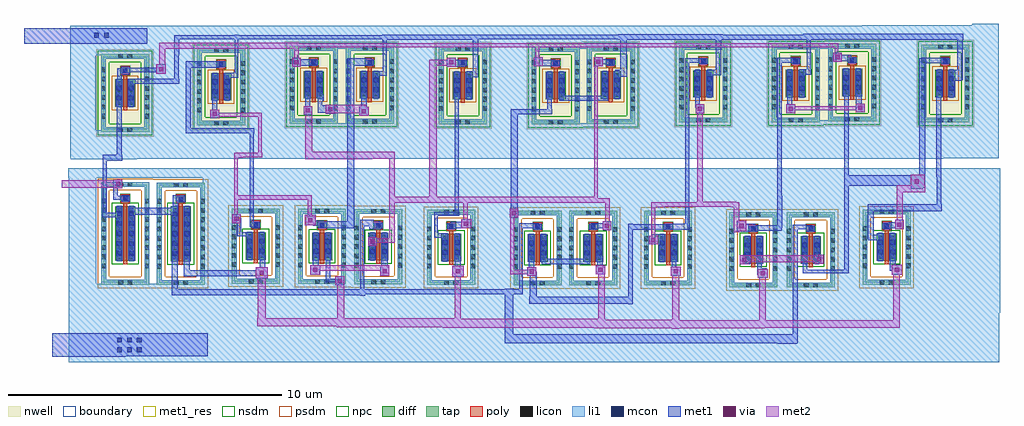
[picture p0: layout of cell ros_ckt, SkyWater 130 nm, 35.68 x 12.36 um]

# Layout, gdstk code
import gdstk
lib = gdstk.Library(unit=1e-6, precision=1e-09)
def R(c, l, rs):  # rectangles x0, y0, x1, y1
    for r in rs: c.add(gdstk.rectangle(r[:2], r[2:], *l))
def A(c, l, x, y, w, h, nx, ny, dx, dy):  # array of equal rectangles
    R(c, l, [(x+i*dx, y+j*dy, x+i*dx+w, y+j*dy+h) for i in range(nx) for j in range(ny)])
nwell = (64, 20)
diff = (65, 20)
tap = (65, 44)
poly = (66, 20)
licon = (66, 44)
li1 = (67, 20)
mcon = (67, 44)
met1_res = (68, 13)
met1 = (68, 20)
via = (68, 44)
met2 = (69, 20)
nsdm = (93, 44)
psdm = (94, 20)
npc = (95, 20)
boundary = (235, 4)

sky130_fd_pr__nfet_01v8_ = lib.new_cell('sky130_fd_pr__nfet_01v8_KW5RPL')
R(sky130_fd_pr__nfet_01v8_, diff, [(-0.365,-1,0.365,1)])
R(sky130_fd_pr__nfet_01v8_, tap, [(-0.875,-1.87,0.875,-1.7), (-0.875,-1.7,-0.705,1.7), (0.705,-1.7,0.875,1.7), (-0.875,1.7,0.875,1.87)])
R(sky130_fd_pr__nfet_01v8_, poly, [(-0.075,-1.13,0.075,1.11), (-0.165,1.11,0.165,1.44)])
A(sky130_fd_pr__nfet_01v8_, licon, -0.875, -1.275, 0.17, 0.17, 1, 8, 0, 0.34)
A(sky130_fd_pr__nfet_01v8_, licon, 0.705, -1.275, 0.17, 0.17, 1, 8, 0, 0.34)
A(sky130_fd_pr__nfet_01v8_, licon, -0.305, -0.935, 0.17, 0.17, 1, 6, 0, 0.34)
A(sky130_fd_pr__nfet_01v8_, licon, 0.135, -0.935, 0.17, 0.17, 1, 6, 0, 0.34)
R(sky130_fd_pr__nfet_01v8_, licon, [(-0.255,-1.87,-0.085,-1.7), (0.085,-1.87,0.255,-1.7), (-0.085,1.19,0.085,1.36), (-0.255,1.7,-0.085,1.87), (0.085,1.7,0.255,1.87)])
R(sky130_fd_pr__nfet_01v8_, li1, [(-0.875,-1.87,0.875,-1.7), (-0.875,-1.7,-0.705,1.7), (0.705,-1.7,0.875,1.7), (-0.305,-1.02,-0.135,1.02), (0.135,-1.02,0.305,1.02), (-0.165,1.19,0.165,1.36), (-0.875,1.7,0.875,1.87)])
A(sky130_fd_pr__nfet_01v8_, mcon, -0.305, -0.805, 0.17, 0.17, 1, 5, 0, 0.36)
A(sky130_fd_pr__nfet_01v8_, mcon, 0.135, -0.805, 0.17, 0.17, 1, 5, 0, 0.36)
R(sky130_fd_pr__nfet_01v8_, mcon, [(-0.085,1.19,0.085,1.36)])
R(sky130_fd_pr__nfet_01v8_, met1, [(-0.335,-1,-0.105,1), (0.105,-1,0.335,1), (-0.145,1.16,0.145,1.39)])
R(sky130_fd_pr__nfet_01v8_, nsdm, [(-0.49,-1.125,0.49,1.125)])
R(sky130_fd_pr__nfet_01v8_, psdm, [(-1,-1.995,1,-1.575), (-1,-1.575,-0.58,1.575), (0.58,-1.575,1,1.575), (-1,1.575,1,1.995)])
R(sky130_fd_pr__nfet_01v8_, npc, [(-0.185,1.09,0.185,1.46)])
R(sky130_fd_pr__nfet_01v8_, boundary, [(-0.79,-1.785,0.79,1.785)])
sky130_fd_pr__nfet_01v8_.add(gdstk.Label('B', (0,-1.785), layer=67, texttype=5))
sky130_fd_pr__nfet_01v8_.add(gdstk.Label('D', (-0.22,0), layer=67, texttype=5))
sky130_fd_pr__nfet_01v8_.add(gdstk.Label('S', (0.22,0), layer=67, texttype=5))
sky130_fd_pr__nfet_01v8_.add(gdstk.Label('G', (0,1.275), layer=67, texttype=5))

c_sky130_fd_pr__nfet_01v8_ = lib.new_cell('sky130_fd_pr__nfet_01v8_SFU2NW')
R(c_sky130_fd_pr__nfet_01v8_, diff, [(-0.365,-0.5,0.365,0.5)])
R(c_sky130_fd_pr__nfet_01v8_, tap, [(-0.875,-1.37,0.875,-1.2), (-0.875,-1.2,-0.705,1.2), (0.705,-1.2,0.875,1.2), (-0.875,1.2,0.875,1.37)])
R(c_sky130_fd_pr__nfet_01v8_, poly, [(-0.075,-0.63,0.075,0.61), (-0.165,0.61,0.165,0.94)])
A(c_sky130_fd_pr__nfet_01v8_, licon, -0.875, -0.765, 0.17, 0.17, 1, 5, 0, 0.34)
A(c_sky130_fd_pr__nfet_01v8_, licon, 0.705, -0.765, 0.17, 0.17, 1, 5, 0, 0.34)
A(c_sky130_fd_pr__nfet_01v8_, licon, -0.305, -0.425, 0.17, 0.17, 1, 3, 0, 0.34)
A(c_sky130_fd_pr__nfet_01v8_, licon, 0.135, -0.425, 0.17, 0.17, 1, 3, 0, 0.34)
R(c_sky130_fd_pr__nfet_01v8_, licon, [(-0.255,-1.37,-0.085,-1.2), (0.085,-1.37,0.255,-1.2), (-0.085,0.69,0.085,0.86), (-0.255,1.2,-0.085,1.37), (0.085,1.2,0.255,1.37)])
R(c_sky130_fd_pr__nfet_01v8_, li1, [(-0.875,-1.37,0.875,-1.2), (-0.875,-1.2,-0.705,1.2), (0.705,-1.2,0.875,1.2), (-0.305,-0.52,-0.135,0.52), (0.135,-0.52,0.305,0.52), (-0.165,0.69,0.165,0.86), (-0.875,1.2,0.875,1.37)])
R(c_sky130_fd_pr__nfet_01v8_, mcon, [(-0.305,-0.265,-0.135,-0.095), (0.135,-0.265,0.305,-0.095), (-0.305,0.095,-0.135,0.265), (0.135,0.095,0.305,0.265), (-0.085,0.69,0.085,0.86)])
R(c_sky130_fd_pr__nfet_01v8_, met1, [(-0.335,-0.5,-0.105,0.5), (0.105,-0.5,0.335,0.5), (-0.145,0.66,0.145,0.89)])
R(c_sky130_fd_pr__nfet_01v8_, nsdm, [(-0.49,-0.625,0.49,0.625)])
R(c_sky130_fd_pr__nfet_01v8_, psdm, [(-1,-1.495,1,-1.075), (-1,-1.075,-0.58,1.075), (0.58,-1.075,1,1.075), (-1,1.075,1,1.495)])
R(c_sky130_fd_pr__nfet_01v8_, npc, [(-0.185,0.59,0.185,0.96)])
R(c_sky130_fd_pr__nfet_01v8_, boundary, [(-0.79,-1.285,0.79,1.285)])
c_sky130_fd_pr__nfet_01v8_.add(gdstk.Label('B', (0,-1.285), layer=67, texttype=5))
c_sky130_fd_pr__nfet_01v8_.add(gdstk.Label('D', (-0.22,0), layer=67, texttype=5))
c_sky130_fd_pr__nfet_01v8_.add(gdstk.Label('S', (0.22,0), layer=67, texttype=5))
c_sky130_fd_pr__nfet_01v8_.add(gdstk.Label('G', (0,0.775), layer=67, texttype=5))

sky130_fd_pr__pfet_01v8_ = lib.new_cell('sky130_fd_pr__pfet_01v8_KBS6X7')
R(sky130_fd_pr__pfet_01v8_, nwell, [(-1.055,-1.595,1.055,1.595)])
R(sky130_fd_pr__pfet_01v8_, diff, [(-0.365,-0.5,0.365,0.5)])
R(sky130_fd_pr__pfet_01v8_, tap, [(-0.875,-1.415,0.875,-1.245), (-0.875,-1.245,-0.705,1.245), (0.705,-1.245,0.875,1.245), (-0.875,1.245,0.875,1.415)])
R(sky130_fd_pr__pfet_01v8_, poly, [(-0.075,-0.63,0.075,0.655), (-0.165,0.655,0.165,0.985)])
A(sky130_fd_pr__pfet_01v8_, licon, -0.875, -0.935, 0.17, 0.17, 1, 6, 0, 0.34)
A(sky130_fd_pr__pfet_01v8_, licon, 0.705, -0.935, 0.17, 0.17, 1, 6, 0, 0.34)
A(sky130_fd_pr__pfet_01v8_, licon, -0.305, -0.425, 0.17, 0.17, 1, 3, 0, 0.34)
A(sky130_fd_pr__pfet_01v8_, licon, 0.135, -0.425, 0.17, 0.17, 1, 3, 0, 0.34)
R(sky130_fd_pr__pfet_01v8_, licon, [(-0.255,-1.415,-0.085,-1.245), (0.085,-1.415,0.255,-1.245), (-0.085,0.735,0.085,0.905), (-0.255,1.245,-0.085,1.415), (0.085,1.245,0.255,1.415)])
R(sky130_fd_pr__pfet_01v8_, li1, [(-0.875,-1.415,0.875,-1.245), (-0.875,-1.245,-0.705,1.245), (0.705,-1.245,0.875,1.245), (-0.305,-0.52,-0.135,0.52), (0.135,-0.52,0.305,0.52), (-0.165,0.735,0.165,0.905), (-0.875,1.245,0.875,1.415)])
R(sky130_fd_pr__pfet_01v8_, mcon, [(-0.305,-0.265,-0.135,-0.095), (0.135,-0.265,0.305,-0.095), (-0.305,0.095,-0.135,0.265), (0.135,0.095,0.305,0.265), (-0.085,0.735,0.085,0.905)])
R(sky130_fd_pr__pfet_01v8_, met1, [(-0.335,-0.5,-0.105,0.5), (0.105,-0.5,0.335,0.5), (-0.145,0.705,0.145,0.935)])
R(sky130_fd_pr__pfet_01v8_, nsdm, [(-1,-1.54,1,-1.12), (-1,-1.12,-0.58,1.12), (0.58,-1.12,1,1.12), (-1,1.12,1,1.54)])
R(sky130_fd_pr__pfet_01v8_, psdm, [(-0.49,-0.625,0.49,0.625)])
R(sky130_fd_pr__pfet_01v8_, npc, [(-0.185,0.635,0.185,1.005)])
R(sky130_fd_pr__pfet_01v8_, boundary, [(-0.79,-1.33,0.79,1.33)])
sky130_fd_pr__pfet_01v8_.add(gdstk.Label('B', (0,-1.33), layer=67, texttype=5))
sky130_fd_pr__pfet_01v8_.add(gdstk.Label('D', (-0.22,0), layer=67, texttype=5))
sky130_fd_pr__pfet_01v8_.add(gdstk.Label('S', (0.22,0), layer=67, texttype=5))
sky130_fd_pr__pfet_01v8_.add(gdstk.Label('G', (0,0.82), layer=67, texttype=5))

ros_ckt = lib.new_cell('ros_ckt')
R(ros_ckt, li1, [(-3.4,-4.77,30.62,-2.97), (-3.4,-2.97,30.65,-1.9), (-3.4,-1.9,-2.38,1.97), (1.51,-1.9,2.66,0.76), (4.25,-1.9,5.03,0.76), (6.67,-1.9,7.1,0.76), (8.77,-1.9,9.8,0.72), (11.42,-1.9,12.93,0.72), (14.57,-1.9,14.93,0.72), (16.57,-1.9,17.71,0.72), (19.34,-1.9,20.81,0.66), (22.47,-1.9,22.95,0.66), (24.53,-1.9,25.68,0.66), (27.3,-1.9,30.65,0.73), (19.34,0.66,25.68,0.73), (8.77,0.72,17.89,0.73), (8.77,0.73,30.65,0.76), (1.51,0.76,30.65,1.97), (-3.41,1.97,30.65,2.32), (-3.33,2.64,-0.91,2.66), (-3.33,2.66,28.57,2.68), (-3.34,2.68,30.6,3.7), (-3.34,3.7,-2.4,6.44), (-0.5,3.7,30.6,3.96), (-0.5,3.96,1.33,6.37), (2.96,3.96,4.79,6.68), (8.42,3.96,13.59,3.97), (17.22,3.96,30.6,4.07), (8.42,3.97,10.21,6.68), (11.82,3.97,13.59,6.68), (17.22,4.07,18.97,6.68), (20.62,4.07,22.34,6.68), (26.02,4.07,27.83,6.68), (29.47,4.07,30.6,6.66), (-0.5,6.37,1.34,6.44), (-3.34,6.44,1.34,6.68), (27.96,6.66,30.6,6.68), (-3.34,6.68,30.6,7.53), (25.62,7.53,30.6,7.55), (29.63,7.55,30.6,7.59)])
A(ros_ckt, mcon, -1.62, -4.405, 0.17, 0.17, 3, 2, 0.36, 0.36)
R(ros_ckt, mcon, [(-2.465,7.09,-2.295,7.26), (-2.105,7.09,-1.935,7.26)])
R(ros_ckt, met1_res, [(13.6,6.04,13.8,6.28), (13.6,6.28,13.93,6.38)])
R(ros_ckt, met1, [(-3.99,-4.57,-1.31,-4.56), (-3.99,-4.56,1.69,-3.72), (22.53,-4.1,23.22,-4.09), (12.54,-4.09,23.22,-4.08), (12.54,-4.08,23.25,-3.75), (12.54,-3.75,12.86,-2.3), (23.08,-3.75,23.25,0.08), (-3.99,-3.72,-1.31,-3.71), (17.06,-2.66,17.23,-2.64), (13.44,-2.64,17.23,-2.38), (13.45,-2.38,13.71,-1.62), (17.06,-2.38,17.23,0.07), (7.27,-2.34,7.45,-2.33), (0.37,-2.33,7.45,-2.3), (0.37,-2.3,13.21,-2.11), (0.37,-2.11,6.21,-2.1), (6.83,-2.11,13.21,-2.1), (0.37,-2.1,0.59,-0.8), (7.26,-2.1,7.4,0.2), (12.54,-2.1,12.86,-2.09), (13.07,-2.1,13.21,0.12), (6.35,-1.97,6.68,-1.86), (6,-1.86,6.68,-1.72), (6,-1.72,6.17,-0.96), (6.35,-1.72,6.68,-1.63), (3.45,-1.71,3.88,-1.64), (21.8,-1.69,22.16,-1.58), (10.63,-1.65,11.04,-1.25), (0.81,-1.64,3.88,-1.42), (8,-1.62,8.32,-1.29), (13.36,-1.62,13.71,-1.47), (18.62,-1.62,18.98,-1.28), (5.43,-1.58,5.8,-1.23), (21.77,-1.58,22.16,-1.37), (26.7,-1.57,27.07,-1.43), (15.87,-1.56,16.22,-1.24), (23.43,-1.53,25.12,-1.39), (13.36,-1.47,13.69,-1.3), (26.62,-1.43,27.07,-1.21), (0.81,-1.42,1.03,-0.81), (3.45,-1.42,3.88,-1.3), (23.43,-1.39,23.6,-1.14), (24.95,-1.39,25.12,1.68), (21.77,-1.37,22.12,-1.35), (21.77,-1.35,21.94,-1.12), (3.58,-1.3,3.79,-0.88), (13.43,-1.3,13.62,-1.03), (8.03,-1.29,8.26,-0.98), (18.65,-1.28,18.82,-1.04), (10.71,-1.25,10.94,-0.91), (15.92,-1.24,16.13,-0.91), (5.52,-1.23,5.74,-0.83), (26.62,-1.21,26.83,-0.87), (21.14,-1.2,21.46,-0.87), (13.89,-1.19,15.67,-0.99), (23.88,-1.18,24.21,-0.85), (7.55,-0.52,7.87,-0.2), (17.82,-0.47,18.33,-0.21), (25.83,-0.32,26.37,-0.28), (25.82,-0.28,26.37,-0.12), (9.96,-0.22,10.47,-0.07), (17.82,-0.21,18.31,-0.15), (2.77,-0.17,3.34,-0.03), (17.9,-0.15,18.31,-0.1), (25.82,-0.12,26.03,0.74), (9.96,-0.07,10.1,0.58), (2.77,-0.03,2.91,0.31), (21.18,0,21.71,0.01), (21.02,0.01,21.71,0.03), (21.02,0.03,22.68,0.14), (16.12,0.05,16.44,0.12), (17.06,0.07,19.3,0.26), (23.08,0.08,23.78,0.24), (7.59,0.09,8.01,0.2), (26.82,0.09,27.14,0.12), (13.07,0.12,13.78,0.3), (15.7,0.12,16.44,0.31), (26.59,0.12,27.14,0.34), (5.87,0.13,7.05,0.21), (10.57,0.13,11.32,0.36), (21.02,0.14,22.69,0.24), (3.22,0.17,3.37,3.6), (7.26,0.2,8.01,0.38), (5.54,0.21,7.05,0.23), (5.23,0.23,7.05,0.38), (21.02,0.24,21.71,0.29), (22.5,0.24,22.69,1.31), (23.08,0.24,23.54,0.25), (17.06,0.26,17.23,0.28), (18.61,0.26,19.3,0.28), (19.14,0.28,19.29,6.18), (21.02,0.29,21.38,0.4), (2.58,0.31,2.91,0.48), (16.12,0.31,16.44,0.37), (26.82,0.34,27.14,0.43), (10.95,0.36,11.32,0.45), (5.23,0.38,5.92,0.4), (6.79,0.38,7.05,6.07), (7.26,0.38,7.76,0.43), (5.23,0.4,5.63,0.61), (2.58,0.48,2.9,0.64), (12.76,0.51,13.02,0.52), (-2.17,0.52,-1.49,0.69), (12.72,0.52,13.04,0.84), (0.4,0.56,0.6,0.62), (9.96,0.58,10.88,0.73), (-1.2,0.62,0.6,0.87), (-2.15,0.69,-2,2.59), (10.71,0.73,10.87,5.2), (25.82,0.74,28.52,1), (12.76,0.84,13.02,4.29), (0.4,0.87,0.6,1.07), (28.34,1,28.5,2.01), (0.4,1.07,0.86,1.33), (-1.76,1.16,-1.37,1.31), (-1.76,1.31,-1.61,1.58), (22.51,1.31,22.68,3.13), (27.38,1.56,27.82,1.61), (-1.76,1.58,-1.43,1.9), (27.38,1.61,27.91,1.68), (24.95,1.68,27.91,2.06), (28.32,2.01,28.5,5.12), (24.95,2.06,25.12,5.01), (27.38,2.06,27.91,2.07), (27.7,2.07,27.91,6.16), (-2.15,2.59,-1.44,2.8), (-2.15,2.8,-2,2.81), (-1.64,2.8,-1.45,3.21), (22.51,3.13,22.67,6.17), (-1.64,3.21,-1.46,4.66), (0.89,3.6,3.39,3.78), (0.89,3.78,1.06,5.99), (1.78,4.14,2.1,4.46), (7.23,4.24,7.57,4.57), (5.19,4.27,5.51,4.59), (14.1,4.28,14.27,4.29), (12.76,4.29,14.27,4.3), (6.01,4.3,6.33,4.35), (12.76,4.3,14.28,4.47), (19.52,4.32,19.84,4.53), (22.84,4.33,23.17,4.66), (5.71,4.35,6.33,4.44), (25.38,4.36,25.7,4.68), (5.7,4.44,6.33,4.61), (1.86,4.46,2.04,4.83), (14.1,4.47,14.27,4.92), (19.5,4.53,19.84,4.65), (7.3,4.57,7.5,4.94), (5.26,4.59,5.44,4.98), (5.7,4.61,5.87,4.78), (6.01,4.61,6.33,4.64), (19.5,4.65,19.67,4.98), (22.87,4.66,23.06,4.97), (25.38,4.68,25.59,4.99), (5.7,4.78,5.93,4.98), (14.53,4.78,16.32,4.97), (25.46,4.99,25.59,5.03), (-1.22,5.41,0.64,5.59), (-1.63,5.43,-1.46,5.74), (28.79,5.51,29.24,5.54), (28.79,5.54,29.29,5.86), (0.47,5.59,0.63,6.41), (2.31,5.63,2.81,5.81), (11.16,5.65,11.58,5.87), (16.58,5.66,17.03,5.91), (7.82,5.69,8.24,5.87), (20,5.72,20.46,5.91), (23.33,5.73,23.75,5.93), (-1.63,5.74,-1.18,5.82), (-0.19,5.77,0.15,5.82), (2.67,5.81,2.81,7.03), (-1.63,5.82,0.15,5.97), (28.82,5.86,29.29,5.92), (8.08,5.87,8.24,5.97), (11.37,5.87,11.57,7.02), (16.77,5.91,17.01,7.02), (20.25,5.91,20.46,7.02), (29.08,5.92,29.29,7.01), (23.58,5.93,23.74,7.01), (-1.48,5.97,0.15,5.98), (8.08,5.97,8.23,7.02), (-1.48,5.98,-1.18,6.03), (-0.19,5.98,0.15,6.11), (0.89,5.99,2.12,6.22), (4.77,6.03,5.09,6.07), (10.43,6.03,11.09,6.27), (13.6,6.04,14.37,6.28), (15.79,6.05,16.13,6.12), (4.77,6.07,5.54,6.3), (6.79,6.07,7.67,6.34), (15.79,6.12,16.56,6.3), (27.7,6.16,28.73,6.34), (22.51,6.17,23.25,6.35), (19.14,6.18,19.77,6.34), (24.55,6.21,24.87,6.23), (24.55,6.23,25.22,6.47), (10.43,6.27,10.99,6.28), (10.43,6.28,10.75,6.35), (13.6,6.28,13.93,6.38), (4.77,6.3,5.09,6.35), (15.79,6.3,16.13,6.37), (27.81,6.34,28.73,6.35), (0.46,6.41,0.63,6.44), (0.46,6.44,0.64,7.03), (24.55,6.47,24.87,6.54), (-5.03,6.86,-0.53,7.44), (23.46,7.01,29.3,7.02), (8.07,7.02,11.57,7.03), (16.69,7.02,29.3,7.03), (0.46,7.03,29.3,7.18), (2.67,7.18,2.81,7.19), (8.07,7.18,29.3,7.19), (11.26,7.19,29.3,7.2), (16.69,7.2,20.51,7.21), (23.46,7.2,29.3,7.24), (16.77,7.21,17.01,7.22)])
R(ros_ckt, via, [(6.44,-1.88,6.59,-1.73), (21.905,-1.605,22.055,-1.455), (3.59,-1.58,3.74,-1.43), (13.45,-1.535,13.6,-1.385), (8.085,-1.525,8.235,-1.375), (10.76,-1.525,10.91,-1.375), (18.715,-1.52,18.865,-1.37), (5.54,-1.475,5.69,-1.325), (15.97,-1.475,16.12,-1.325), (26.81,-1.47,26.96,-1.32), (21.225,-1.115,21.375,-0.965), (23.965,-1.09,24.115,-0.94), (7.635,-0.435,7.785,-0.285), (17.905,-0.385,18.055,-0.235), (21.125,0.13,21.275,0.28), (16.205,0.135,16.355,0.285), (26.895,0.18,27.045,0.33), (11.055,0.215,11.205,0.365), (5.36,0.34,5.51,0.49), (2.665,0.4,2.815,0.55), (12.805,0.605,12.955,0.755), (-1.665,1.665,-1.515,1.815), (27.525,1.755,27.675,1.905), (1.865,4.225,2.015,4.375), (7.32,4.325,7.47,4.475), (5.275,4.355,5.425,4.505), (6.095,4.395,6.245,4.545), (19.605,4.415,19.755,4.565), (22.93,4.42,23.08,4.57), (25.465,4.445,25.615,4.595), (-0.09,5.865,0.06,6.015), (4.855,6.115,5.005,6.265), (10.515,6.115,10.665,6.265), (15.885,6.135,16.035,6.285), (24.635,6.305,24.785,6.455)])
R(ros_ckt, met2, [(18.66,-3.55,18.93,-3.54), (15.82,-3.54,18.93,-3.53), (15.82,-3.53,22.05,-3.52), (15.82,-3.52,26.85,-3.51), (10.28,-3.51,26.98,-3.5), (6.41,-3.5,26.98,-3.46), (3.5,-3.46,26.98,-3.25), (3.5,-3.25,22.09,-3.24), (26.74,-3.25,26.98,-1.57), (3.5,-3.24,18.93,-3.22), (21.84,-3.24,22.09,-1.69), (3.5,-3.22,16.21,-3.19), (18.66,-3.22,18.93,-1.62), (3.5,-3.19,10.94,-3.17), (15.97,-3.19,16.2,-1.56), (3.52,-3.17,3.8,-1.71), (6.41,-3.17,10.94,-3.16), (6.42,-3.16,6.67,-1.97), (10.72,-3.16,10.93,-1.65), (6.35,-1.97,6.68,-1.63), (3.45,-1.71,3.88,-1.3), (21.8,-1.69,22.16,-1.37), (10.63,-1.65,11.04,-1.25), (8,-1.62,8.32,-1.44), (13.36,-1.62,13.69,-1.56), (18.62,-1.62,18.98,-1.28), (5.43,-1.58,5.79,-1.44), (26.7,-1.57,27.07,-1.21), (12.75,-1.56,13.69,-1.39), (15.87,-1.56,16.22,-1.24), (5.43,-1.44,8.32,-1.23), (12.75,-1.39,12.9,0.52), (13.36,-1.39,13.69,-1.3), (21.14,-1.2,21.46,-1.12), (23.88,-1.18,24.21,-1.12), (21.14,-1.12,24.21,-0.87), (23.88,-0.87,24.21,-0.85), (7.55,-0.52,7.87,-0.41), (17.82,-0.47,18.15,-0.15), (7.55,-0.41,8.53,-0.24), (7.55,-0.24,7.87,-0.2), (8.33,-0.24,8.53,1.06), (17.9,-0.15,18.05,0.89), (20.91,-0.02,21.11,0.01), (20.91,0.01,21.38,0.4), (16.12,0.05,16.44,0.37), (26.82,0.09,27.14,0.43), (10.95,0.13,11.32,0.45), (5.23,0.23,5.63,0.61), (2.58,0.31,2.9,0.64), (16.22,0.37,16.38,1.06), (20.91,0.4,21.11,0.89), (26.88,0.43,27.1,1.43), (11.03,0.45,11.19,1.05), (12.72,0.52,13.04,0.84), (5.34,0.61,5.49,1.17), (2.65,0.64,2.79,1.17), (17.9,0.89,18.37,0.9), (20.82,0.89,21.11,0.9), (17.9,0.9,21.11,1.07), (11.03,1.05,15.85,1.06), (8.33,1.06,16.39,1.22), (17.9,1.07,18.37,1.08), (19.56,1.07,21.1,1.08), (19.56,1.08,21,1.09), (19.58,1.09,19.78,4.32), (2.65,1.17,5.49,1.33), (8.33,1.22,15.95,1.28), (8.33,1.28,8.53,2.67), (9.79,1.28,10.06,6.06), (15.81,1.28,15.95,6.05), (2.65,1.33,2.79,2.7), (26.88,1.43,27.91,1.69), (-1.76,1.58,-1.43,1.61), (-3.65,1.61,-1.43,1.88), (27.38,1.69,27.89,2.07), (-1.76,1.88,-1.43,1.9), (27.72,2.07,27.89,2.08), (5.26,2.65,7.7,2.67), (5.26,2.67,8.53,2.91), (2.65,2.7,2.96,2.71), (2.65,2.71,3.68,2.88), (2.65,2.88,2.79,2.89), (3.53,2.88,3.67,4.19), (5.26,2.91,5.51,4.27), (1.78,4.14,2.1,4.19), (1.78,4.19,3.67,4.34), (7.23,4.24,7.57,4.33), (5.19,4.27,5.51,4.59), (19.52,4.32,19.84,4.65), (6.01,4.33,7.57,4.57), (22.84,4.33,23.17,4.43), (1.78,4.34,2.1,4.46), (25.38,4.36,25.7,4.43), (22.84,4.43,25.7,4.58), (6.01,4.57,7.49,4.63), (22.84,4.58,23.17,4.66), (25.38,4.58,25.7,4.68), (-0.19,5.77,0.15,6.11), (4.77,6.03,5.09,6.35), (10.43,6.03,10.75,6.06), (13.6,6.04,13.93,6.38), (15.79,6.05,16.13,6.37), (9.78,6.06,10.75,6.28), (-0.09,6.11,0.14,6.69), (24.55,6.21,24.87,6.54), (10.43,6.28,10.75,6.35), (4.85,6.35,5.01,6.69), (13.66,6.38,13.81,6.74), (24.6,6.54,24.74,6.74), (-0.09,6.69,5.01,6.74), (-0.09,6.74,24.74,6.89), (-0.09,6.89,5.01,6.9), (4.85,6.9,5.01,6.91)])
R(ros_ckt, nsdm, [(15.405,3.815,15.425,6.875), (6.565,3.825,6.615,6.905), (24.185,3.905,24.245,6.955)])
R(ros_ckt, psdm, [(22.635,-2.165,22.735,0.825), (14.745,-2.095,14.775,0.895), (-0.325,-2.065,-0.295,1.915), (6.865,-2.035,6.925,0.945)])
ros_ckt.add(gdstk.Reference(sky130_fd_pr__nfet_01v8_, (-1.325,-0.07)))
ros_ckt.add(gdstk.Reference(sky130_fd_pr__nfet_01v8_, (0.705,-0.08)))
ros_ckt.add(gdstk.Reference(c_sky130_fd_pr__nfet_01v8_, (3.445,-0.53)))
ros_ckt.add(gdstk.Reference(c_sky130_fd_pr__nfet_01v8_, (5.865,-0.54)))
ros_ckt.add(gdstk.Reference(c_sky130_fd_pr__nfet_01v8_, (7.925,-0.55)))
ros_ckt.add(gdstk.Reference(c_sky130_fd_pr__nfet_01v8_, (10.585,-0.58)))
ros_ckt.add(gdstk.Reference(c_sky130_fd_pr__nfet_01v8_, (15.775,-0.6)))
ros_ckt.add(gdstk.Reference(c_sky130_fd_pr__nfet_01v8_, (13.745,-0.6)))
ros_ckt.add(gdstk.Reference(c_sky130_fd_pr__nfet_01v8_, (18.515,-0.6)))
ros_ckt.add(gdstk.Reference(c_sky130_fd_pr__nfet_01v8_, (21.635,-0.67)))
ros_ckt.add(gdstk.Reference(c_sky130_fd_pr__nfet_01v8_, (23.735,-0.67)))
ros_ckt.add(gdstk.Reference(c_sky130_fd_pr__nfet_01v8_, (26.505,-0.57)))
ros_ckt.add(gdstk.Reference(sky130_fd_pr__pfet_01v8_, (-1.335,5.065)))
ros_ckt.add(gdstk.Reference(sky130_fd_pr__pfet_01v8_, (2.175,5.295)))
ros_ckt.add(gdstk.Reference(sky130_fd_pr__pfet_01v8_, (5.565,5.365)))
ros_ckt.add(gdstk.Reference(sky130_fd_pr__pfet_01v8_, (7.615,5.365)))
ros_ckt.add(gdstk.Reference(sky130_fd_pr__pfet_01v8_, (11.015,5.345)))
ros_ckt.add(gdstk.Reference(sky130_fd_pr__pfet_01v8_, (14.405,5.335)))
ros_ckt.add(gdstk.Reference(sky130_fd_pr__pfet_01v8_, (16.425,5.355)))
ros_ckt.add(gdstk.Reference(sky130_fd_pr__pfet_01v8_, (19.805,5.405)))
ros_ckt.add(gdstk.Reference(sky130_fd_pr__pfet_01v8_, (25.245,5.445)))
ros_ckt.add(gdstk.Reference(sky130_fd_pr__pfet_01v8_, (23.185,5.415)))
ros_ckt.add(gdstk.Reference(sky130_fd_pr__pfet_01v8_, (28.655,5.415)))

lib.write_gds('ros_ckt.gds')
